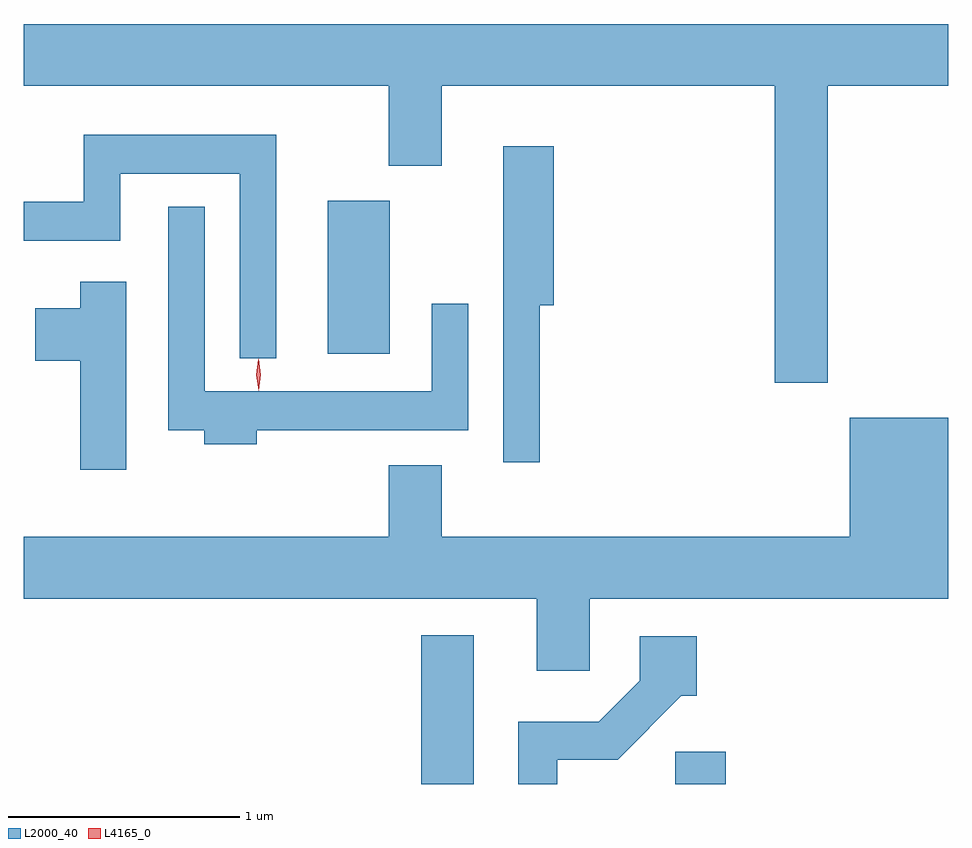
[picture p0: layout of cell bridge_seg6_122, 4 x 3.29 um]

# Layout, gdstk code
import gdstk
lib = gdstk.Library(unit=1e-6, precision=1e-09)
def R(c, l, rs):  # rectangles x0, y0, x1, y1
    for r in rs: c.add(gdstk.rectangle(r[:2], r[2:], *l))
def P(c, l, *ps):  # polygons
    for p in ps: c.add(gdstk.Polygon(p, *l))
L2000_40 = (2000, 40)
L4165_0 = (4165, 0)

bridge_seg6_122 = lib.new_cell('bridge_seg6_122')
R(bridge_seg6_122, L2000_40, [(1181.361,1626.935,1181.589,1627.579), (1182.461,1626.935,1182.679,1627.074), (1180.956,1628.796,1181.224,1629.459)])
P(bridge_seg6_122, L2000_40, [(1183.119,1629.956),(1183.641,1629.956),(1183.641,1630.224),(1179.641,1630.224),(1179.641,1629.956),(1181.221,1629.956),(1181.221,1629.611),(1181.449,1629.611),(1181.449,1629.956),(1182.891,1629.956),(1182.891,1628.671),(1183.119,1628.671)],
  [(1180.734,1629.744),(1179.901,1629.744),(1179.901,1629.454),(1179.641,1629.454),(1179.641,1629.286),(1180.059,1629.286),(1180.059,1629.576),(1180.576,1629.576),(1180.576,1628.778),(1180.734,1628.778)],
  [(1181.874,1629.006),(1181.934,1629.006),(1181.934,1629.694),(1181.716,1629.694),(1181.716,1628.328),(1181.874,1628.328)],
  [(1180.649,1628.466),(1181.564,1628.466),(1181.564,1629.013),(1181.406,1629.013),(1181.406,1628.634),(1180.424,1628.634),(1180.424,1629.433),(1180.266,1629.433),(1180.266,1628.466),(1180.421,1628.466),(1180.421,1628.406),(1180.649,1628.406)],
  [(1180.084,1629.109),(1179.886,1629.109),(1179.886,1628.994),(1179.691,1628.994),(1179.691,1628.766),(1179.886,1628.766),(1179.886,1628.296),(1180.084,1628.296)],
  [(1182.089,1627.736),(1183.641,1627.736),(1183.641,1628.519),(1183.216,1628.519),(1183.216,1628.004),(1181.449,1628.004),(1181.449,1628.314),(1181.221,1628.314),(1181.221,1628.004),(1179.641,1628.004),(1179.641,1627.736),(1181.861,1627.736),(1181.861,1627.426),(1182.089,1627.426)],
  [(1181.949,1627.041),(1182.212,1627.041),(1182.487,1627.316),(1182.554,1627.316),(1182.554,1627.574),(1182.306,1627.574),(1182.306,1627.382),(1182.129,1627.204),(1181.781,1627.204),(1181.781,1626.935),(1181.949,1626.935)])
P(bridge_seg6_122, L4165_0, [(1180.657,1628.637),(1180.657,1628.637),(1180.647,1628.707),(1180.657,1628.776),(1180.657,1628.776),(1180.658,1628.776),(1180.667,1628.707),(1180.658,1628.637)],
  [(1180.657,1628.639),(1180.657,1628.64),(1180.647,1628.706),(1180.656,1628.772),(1180.657,1628.773),(1180.658,1628.772),(1180.667,1628.706),(1180.658,1628.64)])

lib.write_gds('bridge_seg6_122.gds')
